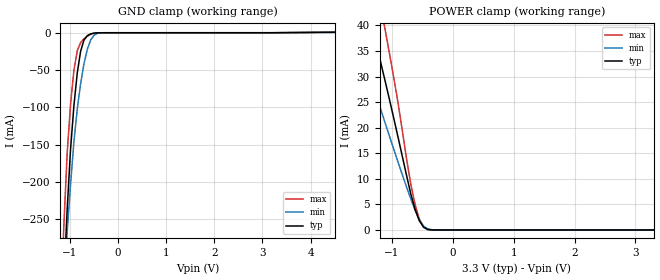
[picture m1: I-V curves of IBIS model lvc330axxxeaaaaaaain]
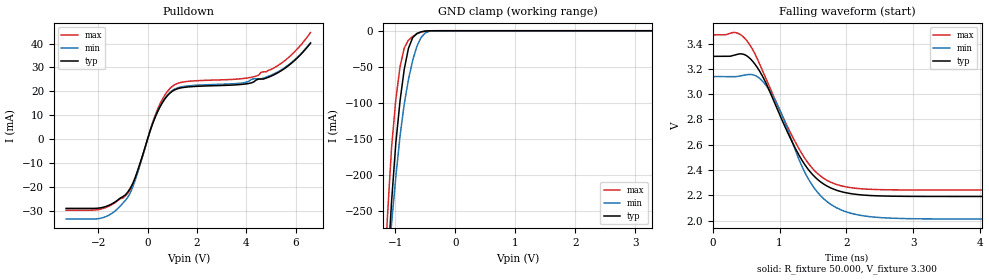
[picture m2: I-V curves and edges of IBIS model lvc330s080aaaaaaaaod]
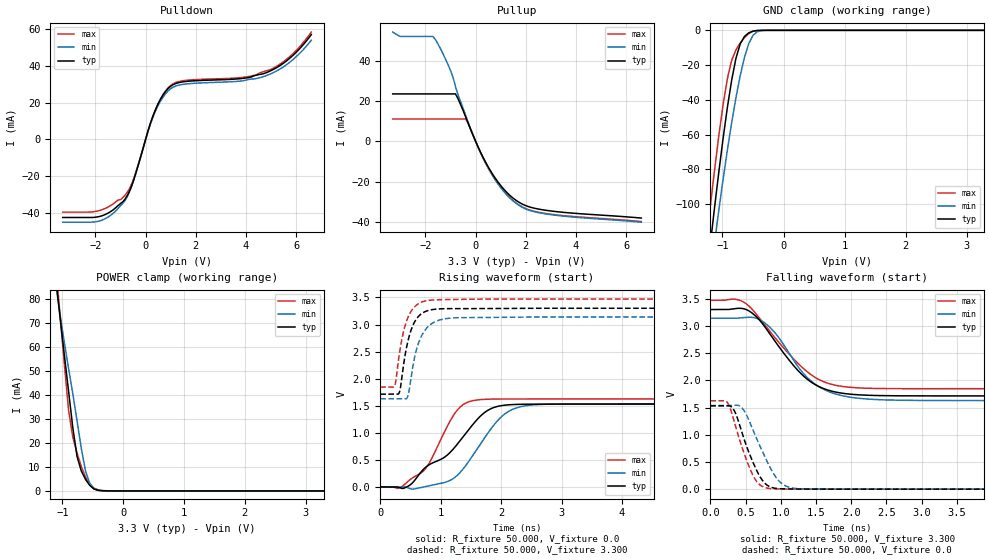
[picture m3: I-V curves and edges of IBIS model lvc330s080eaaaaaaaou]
| IBIS Models Generator: Lattice Diamond (64-bit) 3.14.0.75.2
| Generate date: Wed Apr 22 23:51:22 2026
| IBIS File
| Lattice Semiconductor Corporation
[IBIS ver]   4.2
[File Name]   sdramtest_impl1.ibs
[File Rev]   2.9
[Date]   Thu Jul 29 08:12:20 PDT 2021
[Source]   Lattice Semiconductor umc40lp Process
   LFE5U-25F   FINAL
   Lattice Semiconductor has worked hard to ensure the
   models below are accurate and complete.  However, the
   data below was generated using simulation of the
   input/output model files for the silicon.  Therefore,
   the data below is for reference and initial design
   purposes only.
   Lattice Semiconductor grants permission to use this
   data for use in printed circuit design using this
   Lattice programmable logic device.  Other use of this
   code, including the selling or duplication of any
   portion is strictly prohibited.
|   NAMING CONVENTION
   The IBIS [Model] header is limited by the specification to a
   total of characters.  With such a set of characters available
   for naming models it becomes important to attempt to
   meaningfully encode the IO standards so they fit within the
   twenty character limit.  It would seem that twenty characters
   would provide room enough for describing IO's.  However, the
   PLD IO structure continues to grow more and more complex.  The
   complexity is making the twenty characters insuffiently
   descriptive.  In order to overcome this issue the naming
   convention described below is implemented to resolve the issue.
The twenty character space is managed as follows:
   bbbvvvsdddprttaaoixx
   b = standard
   v = voltage (x.xx V)
   s = slew code
   d = drive (xx.x ma)
   p = pullmode code
   r = impedance
   t = termination code
   o = diff resistor code
   i = diff  current code
   x = reserved
   standard
   LVCMOS   lvc
   lvcmosd   lvd
   LVDS25e   lve
   LVTTL   lvt
   lvttld   ltd
   sstl_I   ss1
   sstl_II   ss2
   sstld_I   s1d
   sstld_II   s2d
   hsul12   hs1
   hsul12d   h1d
   lvds   lvs
   blvds25   blv
   blvds25e   blv
   mlvds   mlv
   mlvds25e   mle
   lvpecl33   lvp
   lvpecl33e   lvp
   sublvds   slv
   slvs   svs
   slvs15e   sve
   mipi   mip
   vref1   vr1
   slew
   na   a
   fast   f
   slow   s
   pullmode
   off   a
   clamp   e
   impedance
   off   a
   termination
   off   aa
   50   cc
   75   dd
   150   ee
   differential resistor
   off   a
   100   b
   differential current
   NA   a
   3.5   c
   Reserved   IO type
   in   input only
   ou   output
   io   I/O
   od   Open drain
   on   Inverting differential I/O
   (signal name only)
   op   Non-Inverting differential I/O
   (signal name only)
   All the IO models are generated with pull mode set to none.
   Lattice Semiconductor Corporation
   5555 NE Moore Court
   Hillsboro, OR 97214
   U.S.A
   TEL: 1-800-Lattice (USA and Canada)
   408-826-6000 (other locations)
   web: http://www.latticesemi.com/
   email: techsupport@latticesemi.com
The IBIS models by default includes the worst case package data
under [package].  If detailed package model is required , it can be
enable using [package model] keyword.
The .pkg files are included in the zip file with the IBIS models.
The .pkg file has to be located in the same directory as IBIS file.
[Disclaimer] This IBIS source code is intended as a design reference
   which illustrates how the Lattice Semiconductor device operates.
   It is the user's responsibility to verify their design for
   consistency and functionality through the use of formal
   verification methods.  Lattice Semiconductor provides no warranty
   regarding the use or functionality of this data.
[Copyright]   Copyright 2007 by Lattice Semiconductor Corporation
|   Component SAPPHIRE
[Component]   SAPPHIRE
[Manufacturer]   Lattice Semiconductor Corp.
[Package]
|CABGA256
| variable   typ   min   max
R_pkg   301.88m   168.88m   475.12m
L_pkg   4.862nH   2.153nH   8.583nH
C_pkg   0.654pF   0.3926pF   1.017pF
[Pin]  signal_name   model_name   R_pin   L_pin   C_pin
T4   SD_A[1]   lvc330s080eaaaaaaaou
T3   SD_A[2]   lvc330s080eaaaaaaaou
T2   SD_A[3]   lvc330s080eaaaaaaaou
R1   SSPI_CS_n   lvc330axxxeaaaaaaain
M1   CRYSTAL   lvc330axxxeaaaaaaain
K2   TX   lvc330s080eaaaaaaaou
J2   ESP_D[7]   lvc330s080eaaaaaaaou
J1   ESP_D[6]   lvc330s080eaaaaaaaou
G1   ESP_D[5]   lvc330s080eaaaaaaaou
G2   ESP_D[4]   lvc330s080eaaaaaaaou
E1   ESP_D[1]   lvc330s080eaaaaaaaou
F2   ESP_D[2]   lvc330s080eaaaaaaaou
E2   ESP_D[0]   lvc330s080eaaaaaaaou
F3   ESP_D[3]   lvc330s080eaaaaaaaou
A2   SD_A[4]   lvc330s080eaaaaaaaou
T6   SD_A[0]   lvc330s080aaaaaaaaod
A3   SD_A[5]   lvc330s080eaaaaaaaou
A4   SD_A[6]   lvc330s080eaaaaaaaou
T7   SD_A[10]   lvc330s080aaaaaaaaod
M8   DOUT   lvc330s080aaaaaaaaod
A5   SD_A[7]   lvc330s080eaaaaaaaou
A6   SD_A[8]   lvc330s080eaaaaaaaou
B7   SD_A[12]   lvc330s080eaaaaaaaou
A7   SD_A[9]   lvc330s080eaaaaaaaou
A8   SD_A[11]   lvc330s080eaaaaaaaou
T14   SD_RAS_N   lvc330s080eaaaaaaaou
R13   SD_CAS_N   lvc330s080eaaaaaaaou
T15   SD_DQM[0]   lvc330s080eaaaaaaaou
R15   SD_CS_N   lvc330s080eaaaaaaaou
N13   SD_WE_N   lvc330s080eaaaaaaaou
R16   SD_DQ[6]   lvc330s080eaaaaaaaou
P16   SD_DQ[5]   lvc330s080eaaaaaaaou
M14   SD_DQ[4]   lvc330s080eaaaaaaaou
L12   SD_BA[1]   lvc330s080eaaaaaaaou
K12   SD_BA[0]   lvc330s080eaaaaaaaou
M15   SD_DQ[3]   lvc330s080eaaaaaaaou
M16   SD_DQ[1]   lvc330s080eaaaaaaaou
L15   SD_DQ[0]   lvc330s080eaaaaaaaou
K16   SD_DQ[2]   lvc330s080eaaaaaaaou
J15   SD_CLK   lvc330s080eaaaaaaaou
J16   SD_DQ[7]   lvc330s080eaaaaaaaou
H15   SD_DQ[15]   lvc330s080eaaaaaaaou
G16   SD_DQ[14]   lvc330s080eaaaaaaaou
G15   SD_DQ[13]   lvc330s080eaaaaaaaou
F16   SD_DQ[12]   lvc330s080eaaaaaaaou
E16   SD_DQ[10]   lvc330s080eaaaaaaaou
F15   SD_DQ[11]   lvc330s080eaaaaaaaou
E15   SD_DQ[9]   lvc330s080eaaaaaaaou
D16   SD_DQ[8]   lvc330s080eaaaaaaaou
D14   SD_DQM[1]   lvc330s080eaaaaaaaou
| Models and submodels in the file (3): lvc330axxxeaaaaaaain (Input), lvc330s080aaaaaaaaod (I/O_open_drain), lvc330s080eaaaaaaaou (Output)
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[Model] lvc330axxxeaaaaaaain
Model_type Input
Polarity   Non-Inverting
Vinl =  0.800V
Vinh =  2.000V
C_comp   3.841pF   3.841pF   3.860pF
[Temperature Range]   25.000   0.125k   -40.000
[Voltage Range]   3.300V   3.140V   3.470V
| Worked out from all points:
|   GND clamp passes 1 mA (typ) near -0.53 V on its own axis
|   POWER clamp passes 1 mA (typ) near -0.50 V on its own axis
[GND_clamp]
|Voltage   I(typ)   I(min)   I(max)
-3.3V     -4.927A    -3.455A    -6.917A
-1.2V     -438.1mA   -409.1mA   -376.6mA
-1.13V    -332.7mA   -335.8mA   -259mA
-1.06V    -236.4mA   -267.1mA   -161.1mA
-990mV    -156.1mA   -203.2mA   -95.66mA
-920mV    -97.62mA   -146.3mA   -50.27mA
-850mV    -53.69mA   -101.9mA   -24mA
-780mV    -24.61mA   -67.98mA   -13.11mA
-710mV    -9.695mA   -41.33mA   -8.146mA
-570mV    -1.528mA   -9.486mA   -1.957mA
-290mV    -1.561uA   -33.47uA   -868.6nA
6.58V     1.74mA     1.178mA    2.308mA
[POWER_clamp]
|Voltage   I(typ)   I(min)   I(max)
-3.28V    129.1mA    106.9mA    153.6mA
-1.6V     52.73mA    39.39mA    69.01mA
-1.32V    39.47mA    28.73mA    52.34mA
-1.25V    36.07mA    26.11mA    48.02mA
-1.11V    29.12mA    20.93mA    39.16mA
-900mV    18.26mA    13.35mA    25mA
-690mV    7.137mA    6.13mA     9.076mA
-620mV    4.083mA    3.935mA    5.064mA
-550mV    1.846mA    2.033mA    2.166mA
-480mV    555.3uA    760.1uA    553.6uA
-410mV    97.55uA    197.5uA    70.38uA
3.3V      0A         0A         0A
[Model] lvc330s080aaaaaaaaod
Model_type I/O_open_drain
Polarity   Non-Inverting
Enable   Active-Low
Vinl =  0.800V
Vinh =  2.000V
Vmeas =  1.650V
Cref =  0.0F
Rref =  1.000M
Vref =  3.3V
C_comp   5.000pF   4.000pF   5.500pF
[Temperature Range]   25.000   0.125k   -40.000
[Voltage Range]   3.300V   3.140V   3.470V
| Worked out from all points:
|   slope of the pulldown table from 0 to 0.495 V, typ, clamps not added: 37.2 ohm
|   GND clamp passes 1 mA (typ) near -0.54 V on its own axis
|   falling waveform, R_fixture 50.000, V_fixture 3.300: 20-80 % time 612ps typ, 577ps min, 670ps max; typ from 3.3 V to 2.19 V
[Pulldown]
|Voltage   I(typ)   I(min)   I(max)
-3.3V     -29mA      -33.46mA   -29.75mA
-1.8V     -28.53mA   -32.84mA   -29.01mA
-1.3V     -26.2mA    -29.95mA   -26.46mA
-800mV    -22.14mA   -24.37mA   -22.63mA
-500mV    -16.05mA   -17.19mA   -16.84mA
300mV     8.946mA    9.108mA    9.732mA
600mV     15.23mA    15.49mA    16.68mA
1V        20.02mA    20.36mA    22.09mA
1.6V      21.81mA    22.24mA    24.14mA
4.4V      24.77mA    25.27mA    26.4mA
5.5V      29.22mA    29.55mA    32.41mA
6.6V      40.19mA    40.34mA    44.66mA
[GND_clamp]
|Voltage   I(typ)   I(min)   I(max)
-3.3V     -4.927A    -3.455A    -6.917A
-1.2V     -438mA     -409mA     -376.6mA
-1.13V    -332.7mA   -335.8mA   -258.9mA
-1.06V    -236.4mA   -267mA     -161mA
-990mV    -156.1mA   -203.1mA   -95.6mA
-920mV    -97.57mA   -146.3mA   -50.22mA
-850mV    -53.64mA   -101.9mA   -23.95mA
-780mV    -24.57mA   -67.95mA   -13.06mA
-640mV    -3.835mA   -21.83mA   -4.519mA
-500mV    -471.8uA   -3.197mA   -537.5uA
-360mV    -15.56uA   -174.4uA   -12.69uA
3.28V     0A         0A         0A
[Ramp]
| variable   typ   min   max
dV/dt_r 0.918/0.854n   0.922/0.619n   0.975/0.493n
dV/dt_f 0.666/0.622n   0.677/0.590n   0.737/0.676n
R_load = 50.000
[Falling Waveform]
R_fixture= 50.000
V_fixture= 3.300
V_fixture_min= 3.140
V_fixture_max= 3.470
|time   V(typ)   V(min)   V(max)
0s        3.3V       3.14V      3.47V
422ps     3.32V      3.146V     3.47V
580ps     3.272V     3.156V     3.371V
737ps     3.151V     3.108V     3.197V
980ps     2.865V     2.904V     2.901V
1.39ns    2.433V     2.37V      2.483V
1.641ns   2.295V     2.182V     2.341V
1.95ns    2.225V     2.078V     2.271V
3.01ns    2.191V     2.014V     2.242V
10ns      2.19V      2.012V     2.241V
[Model] lvc330s080eaaaaaaaou
Model_type  Output
Polarity   Non-Inverting
Enable   Active-Low
Vmeas =  1.650V
Cref =  0.0F
Rref =  1.000M
Vref =  0.0V
C_comp   5.000pF   4.000pF   5.500pF
[Temperature Range]   25.000   0.125k   -40.000
[Voltage Range]   3.300V   3.140V   3.470V
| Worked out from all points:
|   slope of the pulldown table from 0 to 0.495 V, typ, clamps not added: 25.7 ohm
|   slope of the pullup table from 0 to 0.495 V, typ, clamps not added: 39.4 ohm
|   GND clamp passes 1 mA (typ) near -0.54 V on its own axis
|   POWER clamp passes 1 mA (typ) near -0.49 V on its own axis
|   rising waveform, R_fixture 50.000, V_fixture 0.0: 20-80 % time 888ps typ, 593ps min, 460ps max; typ from 0 V to 1.53 V
|   rising waveform, R_fixture 50.000, V_fixture 3.300: 20-80 % time 181ps typ, 208ps min, 182ps max; typ from 1.71 V to 3.3 V
|   falling waveform, R_fixture 50.000, V_fixture 3.300: 20-80 % time 591ps typ, 546ps min, 669ps max; typ from 3.3 V to 1.71 V
|   falling waveform, R_fixture 50.000, V_fixture 0.0: 20-80 % time 268ps typ, 326ps min, 253ps max; typ from 1.53 V to 0 V
[Pulldown]
|Voltage   I(typ)   I(min)   I(max)
-3.3V     -42.56mA   -45.11mA   -39.64mA
-1.8V     -41.88mA   -44.27mA   -38.64mA
-900mV    -33.92mA   -34.73mA   -31.6mA
-500mV    -23.27mA   -23.29mA   -22.42mA
300mV     12.95mA    12.36mA    12.96mA
600mV     22.06mA    21.03mA    22.23mA
1V        28.99mA    27.65mA    29.45mA
1.6V      31.58mA    30.21mA    32.2mA
4V        33.5mA     32.36mA    34.07mA
4.9V      36.93mA    35.29mA    37.66mA
5.8V      44.95mA    42.72mA    45.88mA
6.6V      57.17mA    54.1mA     58.52mA
[Pullup]
|Voltage   I(typ)   I(min)   I(max)
-3.3V     23.51mA    54.2mA     11.05mA
-3V       23.51mA    52.06mA    11.05mA
-1.7V     23.51mA    52.06mA    11.05mA
-1.1V     23.51mA    38.15mA    11.05mA
-800mV    23.51mA    27.14mA    11.05mA
-400mV    12.23mA    13.01mA    11.05mA
-300mV    9.026mA    9.528mA    9.252mA
400mV     -10.43mA   -10.76mA   -10.92mA
1V        -21.99mA   -22.91mA   -22.96mA
1.6V      -29.24mA   -30.68mA   -30.52mA
2.8V      -34.29mA   -36.08mA   -35.89mA
6.6V      -38.14mA   -40.19mA   -39.87mA
[GND_clamp]
|Voltage   I(typ)   I(min)   I(max)
-3.3V     -912.7mA   -861.5mA   -922.5mA
-1.27V    -145.6mA   -163.6mA   -123.5mA
-1.2V     -123.4mA   -142.6mA   -101.4mA
-1.13V    -102mA     -122.4mA   -80.37mA
-1.06V    -81.56mA   -103.5mA   -60.64mA
-920mV    -44.4mA    -68.93mA   -27.87mA
-780mV    -16.18mA   -38.86mA   -11.24mA
-710mV    -7.839mA   -26.12mA   -7.318mA
-570mV    -1.464mA   -7.654mA   -1.852mA
-430mV    -105.8uA   -801.1uA   -99.73uA
-290mV    -1.56uA    -33.42uA   -868.4nA
3.28V     0A         0A         0A
[POWER_clamp]
|Voltage   I(typ)   I(min)   I(max)
-3.28V    889.6mA    708.9mA    1.058A
-1.11V    88.63mA    85.92mA    94.1mA
-1.04V    72.5mA     73.68mA    73.39mA
-900mV    41.77mA    51.14mA    33.83mA
-830mV    26.51mA    40.62mA    22.43mA
-760mV    14.38mA    29.24mA    15.78mA
-690mV    8.342mA    17.8mA     10.23mA
-620mV    4.786mA    8.257mA    5.778mA
-550mV    2.295mA    3.118mA    2.584mA
-480mV    835uA      1.137mA    782uA
-200mV    3.621uA    22.63uA    424nA
3.3V      0A         0A         0A
[Ramp]
| variable   typ   min   max
dV/dt_r 0.918/0.888n   0.922/0.605n   0.975/0.473n
dV/dt_f 0.952/0.605n   0.908/0.559n   0.975/0.675n
R_load = 50.000
[Rising Waveform]
R_fixture= 50.000
V_fixture= 0.0
V_fixture_min= 0.0
V_fixture_max= 0.0
|time   V(typ)   V(min)   V(max)
0s        0V         0V         0V
395ps     -21.34mV   -312.5uV   39.25mV
706ps     316.6mV    -3.968mV   286.4mV
1.246ns   750.4mV    186.7mV    1.379V
1.386ns   948.4mV    353.4mV    1.531V
1.583ns   1.221V     668.1mV    1.604V
1.794ns   1.424V     1.016V     1.621V
2.036ns   1.507V     1.326V     1.624V
2.494ns   1.529V     1.511V     1.625V
10ns      1.53V      1.536V     1.625V
[Rising Waveform]
R_fixture= 50.000
V_fixture= 3.300
V_fixture_min= 3.140
V_fixture_max= 3.470
|time   V(typ)   V(min)   V(max)
0s        1.713V     1.627V     1.845V
239ps     1.713V     1.627V     1.864V
327ps     1.793V     1.627V     2.539V
441ps     2.611V     1.64V      3.082V
471ps     2.754V     1.745V     3.162V
520ps     2.929V     2.095V     3.26V
615ps     3.128V     2.598V     3.372V
795ps     3.259V     2.965V     3.446V
1.314ns   3.293V     3.127V     3.464V
10ns      3.3V       3.14V      3.47V
[Falling Waveform]
R_fixture= 50.000
V_fixture= 3.300
V_fixture_min= 3.140
V_fixture_max= 3.470
|time   V(typ)   V(min)   V(max)
0s        3.3V       3.14V      3.47V
425ps     3.323V     3.147V     3.467V
564ps     3.263V     3.159V     3.346V
717ps     3.079V     3.103V     3.108V
934ps     2.689V     2.848V     2.757V
1.343ns   2.055V     2.095V     2.192V
1.588ns   1.858V     1.848V     1.986V
1.894ns   1.759V     1.711V     1.884V
2.877ns   1.714V     1.631V     1.846V
10ns      1.713V     1.627V     1.845V
[Falling Waveform]
R_fixture= 50.000
V_fixture= 0.0
V_fixture_min= 0.0
V_fixture_max= 0.0
|time   V(typ)   V(min)   V(max)
0s        1.53V      1.536V     1.625V
249ps     1.532V     1.536V     1.58V
342ps     1.439V     1.541V     1.231V
445ps     1.059V     1.499V     791mV
644ps     383.3mV    970.2mV    166.9mV
747ps     149.4mV    673.8mV    44.28mV
844ps     45.12mV    410.9mV    11.94mV
1.028ns   5.463mV    90.96mV    2.422mV
1.295ns   2.069mV    6.213mV    1.442mV
10ns      0V         0V         0V
